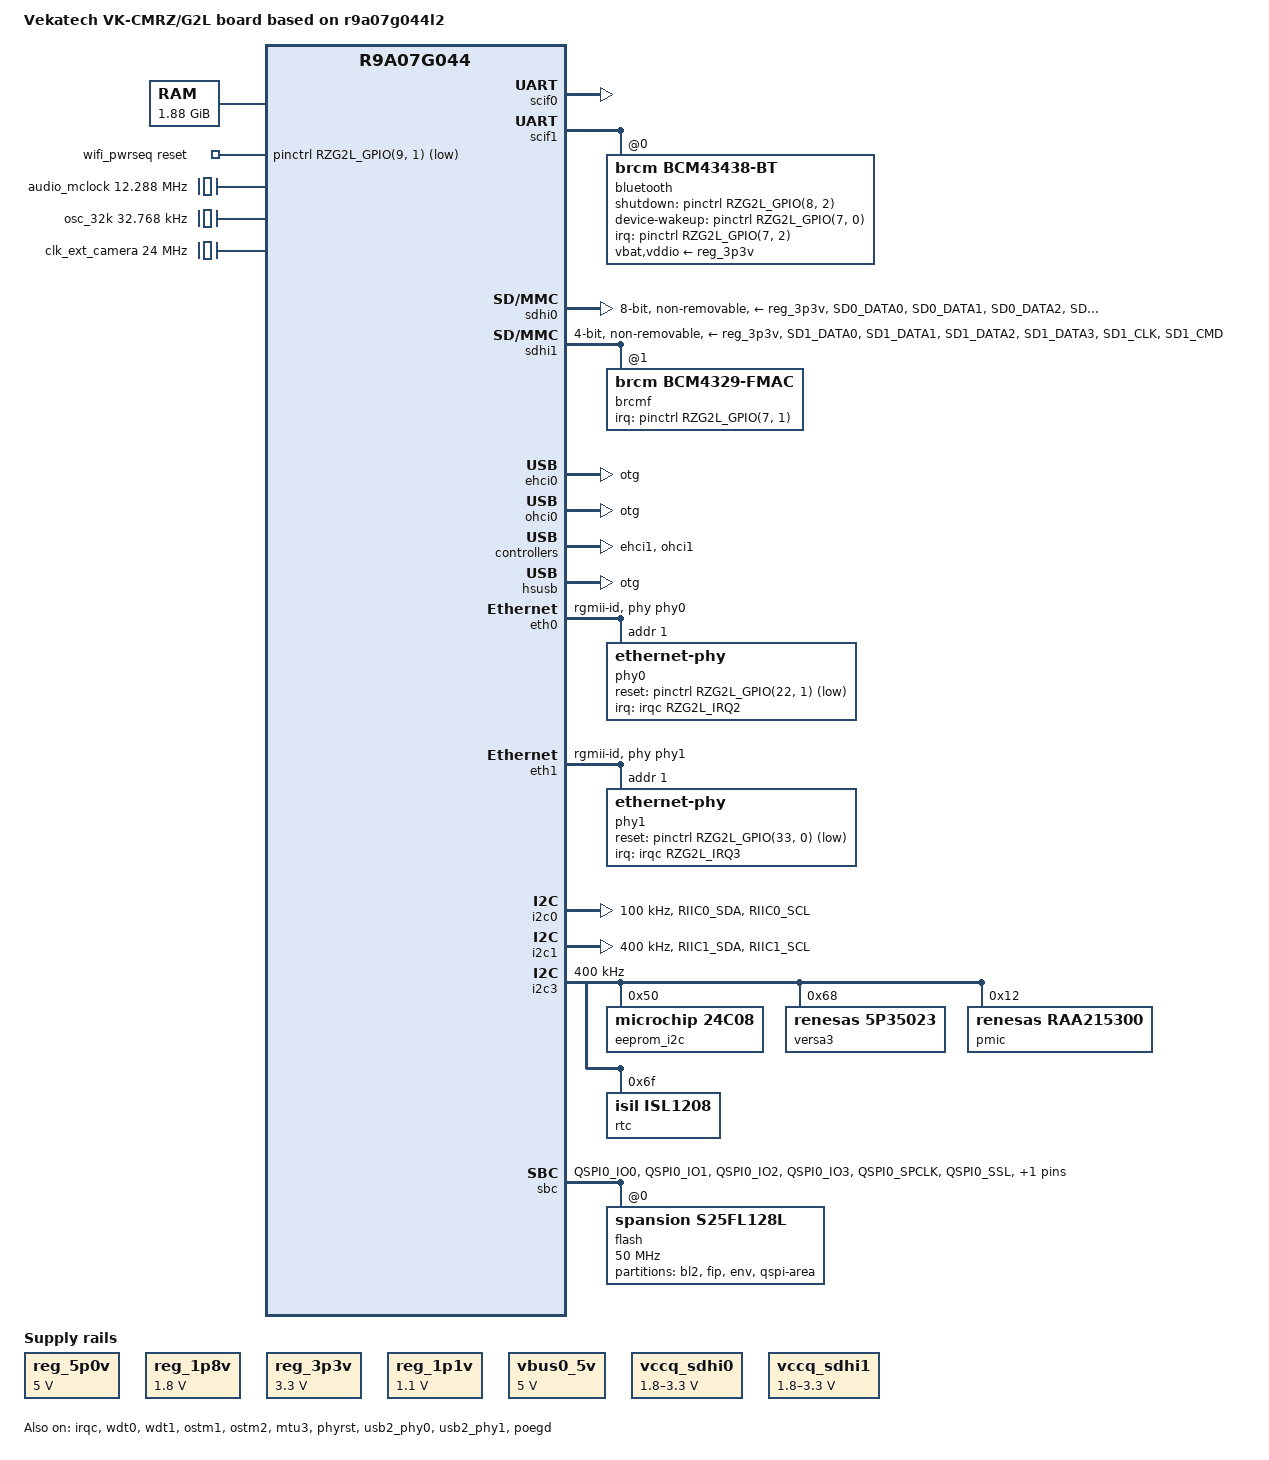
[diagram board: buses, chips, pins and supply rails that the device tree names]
// SPDX-License-Identifier: GPL-2.0
/*
 * Device Tree Source for the Vekatech (VK-CMRZ/G2L Dual Cortex-A55)
 *
 * Copyright (C) 2026 Vekatech.
 */

/dts-v1/;

#include "r9a07g044l2.dtsi"
#include <dt-bindings/gpio/gpio.h>
#include <dt-bindings/interrupt-controller/irqc-rzg2l.h>
#include <dt-bindings/pinctrl/rzg2l-pinctrl.h>
#include <dt-bindings/input/input.h>

#define WIFI_MODULE_1YN 1


/ {
	model = "Vekatech VK-CMRZ/G2L board based on r9a07g044l2";
	compatible = "vekatech,vkcmg2l", "renesas,r9a07g044l2", "renesas,r9a07g044";

	aliases {
		ethernet0 = &eth0;
		ethernet1 = &eth1;
		serial0 = &scif0;
		serial1 = &scif1;
		serial2 = &scif2;
		serial3 = &scif3;
		i2c0 = &i2c0;
		i2c1 = &i2c1;
		i2c3 = &i2c3;
		mmc0 = &sdhi0;
		mmc1 = &sdhi1;
	};

	chosen {
		bootargs = "ignore_loglevel";
		stdout-path = "serial0:115200n8";
	};

	memory@48000000 {
		device_type = "memory";
		/* first 128MB is reserved for secure area. */
		reg = <0x0 0x48000000 0x0 0x78000000>;
	};

	reserved-memory {
		#address-cells = <2>;
		#size-cells = <2>;
		ranges;

		global_cma: linux,cma@58000000 {
			compatible = "shared-dma-pool";
			linux,cma-default;
			reusable;
			reg = <0x0 0x58000000 0x0 0x10000000>;
		};

		mmp_reserved: linux,multimedia@68000000 {
			compatible = "shared-dma-pool";
			reusable;
			reg = <0x00000000 0x68000000 0x0 0x8000000>;
		};
	};

	mmngr {
		compatible = "renesas,mmngr";
		memory-region = <&mmp_reserved>;
	};

	mmngrbuf {
		compatible = "renesas,mmngrbuf";
	};

	vspm_if {
		compatible = "renesas,vspm_if";
	};

	reg_5p0v: regulator0 {
		compatible = "regulator-fixed";
		regulator-name = "MAIN-5.0V";
		regulator-min-microvolt = <5000000>;
		regulator-max-microvolt = <5000000>;
		regulator-boot-on;
		regulator-always-on;
	};

	reg_1p8v: regulator1 {
		compatible = "regulator-fixed";
		regulator-name = "fixed-1.8V";
		regulator-min-microvolt = <1800000>;
		regulator-max-microvolt = <1800000>;
		regulator-boot-on;
		regulator-always-on;
	};

	reg_3p3v: regulator2 {
		compatible = "regulator-fixed";
		regulator-name = "fixed-3.3V";
		regulator-min-microvolt = <3300000>;
		regulator-max-microvolt = <3300000>;
		regulator-boot-on;
		regulator-always-on;
	};

	reg_1p1v: regulator-vdd-core {
		compatible = "regulator-fixed";
		regulator-name = "fixed-1.1V";
		regulator-min-microvolt = <1100000>;
		regulator-max-microvolt = <1100000>;
		regulator-boot-on;
		regulator-always-on;
	};

	vbus0_5v: regulator-vbus0-usb {
		compatible = "regulator-fixed";
		regulator-name = "USB2_VBUS0";
		regulator-min-microvolt = <5000000>;
		regulator-max-microvolt = <5000000>;
		regulator-always-on;
	};

	vccq_sdhi0: regulator-vccq-sdhi0 {
		compatible = "regulator-gpio";
		regulator-name = "SDHI0 VccQ";
		regulator-min-microvolt = <1800000>;
		regulator-max-microvolt = <3300000>;
		gpios-states = <1>;
		states = <3300000 1>, <1800000 0>;
	};

	vccq_sdhi1: regulator-vccq-sdhi1 {
		compatible = "regulator-gpio";
		regulator-name = "SDHI1 VccQ";
		regulator-min-microvolt = <1800000>;
		regulator-max-microvolt = <3300000>;
		gpios-states = <1>;
		states = <3300000 1>, <1800000 0>;
	};
#if WIFI_MODULE_1YN
	wifi_pwrseq: wifi_pwrseq {
		compatible = "mmc-pwrseq-simple";
		reset-gpios = <&pinctrl RZG2L_GPIO(9, 1) GPIO_ACTIVE_LOW>;
	};
#endif
	backlight: backlight {
		compatible = "pwm-backlight";
		brightness-levels = <0 8 32 64 96 128 160 192 224 255>;
		default-brightness-level = <8>;
		power-supply = <&reg_5p0v>;
		status = "disabled";
	};

	audio_mclock: audio-mclock {
		compatible = "fixed-clock";
		#clock-cells = <0>;
		clock-frequency = <12288000>;
	};

	osc_32k: osc-32k {
		compatible = "fixed-clock";
		#clock-cells = <0>;
		clock-frequency = <32768>;
	};

	clk_ext_camera: clk-ext-camera {
		compatible = "fixed-clock";
		#clock-cells = <0>;
		clock-frequency = <24000000>;
	};

	x1_clk: x1-clock {
		compatible = "fixed-clock";
		#clock-cells = <0>;
		clock-frequency = <24000000>;
	};
};

&extal_clk {
	clock-frequency = <24000000>;
};

&audio_clk1{
	clock-frequency = <11289600>;
};

&audio_clk2{
	clock-frequency = <12288000>;
};

&irqc {
	status = "okay";
};

&gpu {
	mali-supply = <&reg_1p1v>;
};

&wdt0 {
	status = "okay";
	timeout-sec = <60>;
};

&wdt1 {
	status = "okay";
	timeout-sec = <60>;
};

&ostm1 {
	status = "okay";
};

&ostm2 {
	status = "okay";
};

&mtu3 {
	status = "okay";
};

&scif0 {
	pinctrl-0 = <&scif0_pins>;
	pinctrl-names = "default";
	status = "okay";
};

#if WIFI_MODULE_1YN
&scif1 {
	pinctrl-0 = <&scif1_pins>;
	pinctrl-names = "default";
	uart-has-rtscts;
	status = "okay";

	bluetooth: bluetooth@0 {
		status = "okay";

		compatible = "brcm,bcm43438-bt";
		vbat-supply = <&reg_3p3v>;
		vddio-supply = <&reg_3p3v>;
		shutdown-gpios = <&pinctrl RZG2L_GPIO(8, 2) GPIO_ACTIVE_HIGH>;
		device-wakeup-gpios = <&pinctrl RZG2L_GPIO(7, 0) GPIO_ACTIVE_HIGH>;
		interrupt-parent = <&pinctrl>;
		interrupts = <RZG2L_GPIO(7, 2) IRQ_TYPE_LEVEL_LOW>;
		interrupt-names = "host-wakeup";
		clocks = <&osc_32k>;
		clock-names = "lpo";
		max-speed = <4000000>;

		// #sound-dai-cells = <0>;
		// brcm,bt-pcm-int-params	= [01 02 00 01 01];
	};

};
#endif

/* for eMMC */
&sdhi0 {
	pinctrl-0 = <&sdhi0_emmc_pins>;
	pinctrl-1 = <&sdhi0_emmc_pins>;
	pinctrl-names = "default", "state_uhs";

	vmmc-supply = <&reg_3p3v>;
	vqmmc-supply = <&reg_1p8v>;
	bus-width = <8>;
	mmc-hs200-1_8v;
	non-removable;
	fixed-emmc-driver-type = <1>;
	status = "okay";
};

#if WIFI_MODULE_1YN
/* Wifi */
&sdhi1 {
	status = "okay";

	#address-cells = <1>;
	#size-cells = <0>;

	pinctrl-names = "default";
	pinctrl-0 = <&wifi_pins>;
	vmmc-supply = <&reg_3p3v>;
	vqmmc-supply = <&vccq_sdhi1>;
	bus-width = <4>;
	non-removable;
	mmc-pwrseq = <&wifi_pwrseq>;
	cap-sd-highspeed;
	cap-power-off-card;
	keep-power-in-suspend;

	brcmf: bcrmf@1 {
		reg = <1>;
		compatible = "brcm,bcm4329-fmac";
		status = "okay";
		interrupt-parent = <&pinctrl>;
		interrupts = <RZG2L_GPIO(7, 1) IRQ_TYPE_LEVEL_HIGH>;
		interrupt-names = "host-wake";
	};
};
#endif

&ehci0 {
	memory-region = <&global_cma>;
	dr_mode = "otg";
	status = "okay";
};

&ohci0 {
	memory-region = <&global_cma>;
	dr_mode = "otg";
	status = "okay";
};

&ehci1 {
	memory-region = <&global_cma>;
	status = "okay";
};

&ohci1 {
	memory-region = <&global_cma>;
	status = "okay";
};

&hsusb {
	dr_mode = "otg";
	status = "okay";
};

&phyrst {
	status = "okay";
};

&usb2_phy0 {
	pinctrl-0 = <&usb0_pins>;
	pinctrl-names = "default";

	vbus-supply = <&vbus0_5v>;
	status = "okay";
};

&usb2_phy1 {
	pinctrl-0 = <&usb1_pins>;
	pinctrl-names = "default";

	vbus-supply = <&vbus0_5v>;
	status = "okay";
};

&eth0 {
	#address-cells = <1>;
	#size-cells = <0>;
	pinctrl-names = "default";
	pinctrl-0 = <&eth0_pins>;
	phy-handle = <&phy0>;
	phy-mode = "rgmii-id";
	status = "okay";

	/* Realtek RTL8211F (0x001cc916) */
	phy0: ethernet-phy@1 {
		reg = <1>;
		reset-assert-us = <15000>;
		reset-deassert-us = <100000>;
		reset-gpios = <&pinctrl RZG2L_GPIO(22, 1) (GPIO_ACTIVE_LOW|GPIO_OPEN_DRAIN)>;
		interrupt-parent = <&irqc>;
		interrupts = <RZG2L_IRQ2 IRQ_TYPE_LEVEL_LOW>;
		eee-broken-100tx;
		eee-broken-1000t;
	};
};

&eth1 {
	#address-cells = <1>;
	#size-cells = <0>;
	pinctrl-names = "default";
	pinctrl-0 = <&eth1_pins>;
	phy-handle = <&phy1>;
	phy-mode = "rgmii-id";
	status = "okay";

	/* Realtek RTL8211F (0x001cc916) */
	phy1: ethernet-phy@1 {
		reg = <1>;
		reset-assert-us = <15000>;
		reset-deassert-us = <100000>;
		reset-gpios = <&pinctrl RZG2L_GPIO(33, 0) (GPIO_ACTIVE_LOW|GPIO_OPEN_DRAIN)>;
		interrupt-parent = <&irqc>;
		interrupts = <RZG2L_IRQ3 IRQ_TYPE_LEVEL_LOW>;
		eee-broken-100tx;
		eee-broken-1000t;
	};
};

&csi2 {
	status = "disabled";
};

&i2c0 {
	pinctrl-0 = <&i2c0_pins>;
	pinctrl-names = "default";

	clock-frequency = <100000>;
	status = "okay";
};

&i2c1 {
	pinctrl-0 = <&i2c1_pins>;
	pinctrl-names = "default";
	clock-frequency = <400000>;
	
	status = "okay";

	gt9271: gt9271_ts@5d {
		compatible = "goodix,gt911";
		reg = <0x5d>;

		status = "disabled";
	};

	ft5626: ft5626_ts@38 {
		compatible = "edt,edt-ft5506";
		reg = <0x38>;

		status = "disabled";
		vcc-supply = <&reg_3p3v>;
	};
};

&i2c3 {
	pinctrl-0 = <&i2c3_pins>;
	pinctrl-names = "default";
	clock-frequency = <400000>;
	status = "okay";

	eeprom_i2c: eeprom-i2c@50 {
		status = "okay";
		compatible = "microchip,24c08", "atmel,24c08";
		reg = <0x50>;
		pagesize = <8>;
	};

	versa3: versa3@68 {
		compatible = "renesas,5p35023";
		reg = <0x68>;
		#clock-cells = <1>;
		clocks = <&x1_clk>;
		clock-names = "x1";
		assigned-clocks = <&versa3 0>,	/* REF RZ EXT */
				  <&versa3 1>,	/* SE1 Audio CLK1 */
				  <&versa3 2>,	/* SE2 Audio Master CLK */
				  <&versa3 3>,	/* SE3 32k CLK */
				  <&versa3 4>,	/* DIFF1 ETH1/2 CLK */
				  <&versa3 5>;	/* DIFF2 Audio CLK2 */
		assigned-clock-rates =	<24000000>,
					<11289600>,
					<12288000>,
					<32768>, 
					<25000000>,
					<12288000>;
	};

	pmic: raa215300@12 {
		compatible = "renesas,raa215300";
		reg = <0x12>;

		rtc-enable;
	};

	rtc: isl1208@6f {
		compatible = "isil,isl1208";
		reg = <0x6f>;

		external-oscillator;
	};
};

&poegd {
	status = "okay";
};

&dsi {
	status = "disabled";
	#address-cells = <1>;
	#size-cells = <0>;

	mipi_panel: panel@0 {
		power-supply = <&reg_5p0v>;
		reg = <0>;
		backlight = <&backlight>;
		status = "disabled";
	};
};

&sbc {
	status = "okay";

	pinctrl-0 = <&qspi0_pins>;
	pinctrl-names = "default";

	flash@0 {
		status = "okay";

		compatible = "spansion,s25fl128l", "jedec,spi-nor";
		spi-max-frequency = <50000000>;
		reg = <0>;
		spi-rx-bus-width = <4>;
		spi-tx-bus-width = <4>;
		m25p,fast-read;

		partitions {
			compatible = "fixed-partitions";
			#address-cells = <1>;
			#size-cells = <1>;

			partition@000000 {
				label = "bl2";
				reg = <0x00000000 0x0001D200>;
				read-only;
			};
			partition@01D200 {
				label = "fip";
				reg = <0x0001D200 0x001C2E00>;
				read-only;
			};
			partition@1E0000 {
				label = "env";
				reg = <0x001E0000 0x00020000>;
				read-only;
			};
			partition@200000 {
				label = "qspi-area";
				reg = <0x00200000 0x00E00000>;
			};
		};
	};
};

&pinctrl {
	pinctrl-0 = <&sound_clk_pins>;
	pinctrl-names = "default";

	sound_clk_pins: sound_clk {
		pins = "AUDIO_CLK1", "AUDIO_CLK2";
		input-enable;
	};

	scif0_pins: scif0 {
		pinmux = <RZG2L_PORT_PINMUX(38, 0, 1)>,	/* TxD */
			 <RZG2L_PORT_PINMUX(38, 1, 1)>;	/* RxD */
	};
#if WIFI_MODULE_1YN
	scif1_pins: scif1 {
		pinmux = <RZG2L_PORT_PINMUX(40, 0, 1)>, /* TxD */
			 <RZG2L_PORT_PINMUX(40, 1, 1)>, /* RxD */
			 <RZG2L_PORT_PINMUX(41, 1, 1)>, /* CTS# */
			 <RZG2L_PORT_PINMUX(41, 0, 1)>; /* RTS# */
	};
#endif
	i2c0_pins: i2c0 {
		pins = "RIIC0_SDA", "RIIC0_SCL";
		input-enable;
	};

	i2c1_pins: i2c1 {
		pins = "RIIC1_SDA", "RIIC1_SCL";
		input-enable;
	};

	i2c3_pins: i2c3 {
		pinmux = <RZG2L_PORT_PINMUX(18, 0, 3)>, /* SDA */
			 <RZG2L_PORT_PINMUX(18, 1, 3)>; /* SCL */
	};

	eth0_pins: eth0 {
		pinmux = <RZG2L_PORT_PINMUX(28, 1, 1)>, /* ET0_LINKSTA */
			 <RZG2L_PORT_PINMUX(27, 1, 1)>, /* ET0_MDC */
			 <RZG2L_PORT_PINMUX(28, 0, 1)>, /* ET0_MDIO */
			 <RZG2L_PORT_PINMUX(20, 0, 1)>, /* ET0_TXC */
			 <RZG2L_PORT_PINMUX(20, 1, 1)>, /* ET0_TX_CTL */
			 <RZG2L_PORT_PINMUX(20, 2, 1)>, /* ET0_TXD0 */
			 <RZG2L_PORT_PINMUX(21, 0, 1)>, /* ET0_TXD1 */
			 <RZG2L_PORT_PINMUX(21, 1, 1)>, /* ET0_TXD2 */
			 <RZG2L_PORT_PINMUX(22, 0, 1)>, /* ET0_TXD3 */
			 <RZG2L_PORT_PINMUX(24, 0, 1)>, /* ET0_RXC */
			 <RZG2L_PORT_PINMUX(24, 1, 1)>, /* ET0_RX_CTL */
			 <RZG2L_PORT_PINMUX(25, 0, 1)>, /* ET0_RXD0 */
			 <RZG2L_PORT_PINMUX(25, 1, 1)>, /* ET0_RXD1 */
			 <RZG2L_PORT_PINMUX(26, 0, 1)>, /* ET0_RXD2 */
			 <RZG2L_PORT_PINMUX(26, 1, 1)>, /* ET0_RXD3 */
			 <RZG2L_PORT_PINMUX( 1, 0, 1)>; /* IRQ2     */

	};

	eth1_pins: eth1 {
		pinmux = <RZG2L_PORT_PINMUX(37, 2, 1)>, /* ET1_LINKSTA */
			 <RZG2L_PORT_PINMUX(37, 0, 1)>, /* ET1_MDC */
			 <RZG2L_PORT_PINMUX(37, 1, 1)>, /* ET1_MDIO */
			 <RZG2L_PORT_PINMUX(29, 0, 1)>, /* ET1_TXC */
			 <RZG2L_PORT_PINMUX(29, 1, 1)>, /* ET1_TX_CTL */
			 <RZG2L_PORT_PINMUX(30, 0, 1)>, /* ET1_TXD0 */
			 <RZG2L_PORT_PINMUX(30, 1, 1)>, /* ET1_TXD1 */
			 <RZG2L_PORT_PINMUX(31, 0, 1)>, /* ET1_TXD2 */
			 <RZG2L_PORT_PINMUX(31, 1, 1)>, /* ET1_TXD3 */
			 <RZG2L_PORT_PINMUX(33, 1, 1)>, /* ET1_RXC */
			 <RZG2L_PORT_PINMUX(34, 0, 1)>, /* ET1_RX_CTL */
			 <RZG2L_PORT_PINMUX(34, 1, 1)>, /* ET1_RXD0 */
			 <RZG2L_PORT_PINMUX(35, 0, 1)>, /* ET1_RXD1 */
			 <RZG2L_PORT_PINMUX(35, 1, 1)>, /* ET1_RXD2 */
			 <RZG2L_PORT_PINMUX(36, 0, 1)>, /* ET1_RXD3 */
			 <RZG2L_PORT_PINMUX( 1, 1, 1)>; /* IRQ3     */

	};

	usb0_pins: usb0 {
		pinmux = <RZG2L_PORT_PINMUX(4, 0, 1)>, /* VBUS */
			 <RZG2L_PORT_PINMUX(5, 0, 1)>; /* OVC */
	};

	usb1_pins: usb1 {
		pinmux = <RZG2L_PORT_PINMUX(8, 0, 2)>, /* VBUS */
			 <RZG2L_PORT_PINMUX(8, 1, 2)>; /* OVC */
	};

	sdhi0_emmc_pins: sd0emmc {
		sd0_emmc_data {
			pins = "SD0_DATA0", "SD0_DATA1", "SD0_DATA2", "SD0_DATA3",
			       "SD0_DATA4", "SD0_DATA5", "SD0_DATA6", "SD0_DATA7";
			power-source = <1800>;
		};

		sd0_emmc_ctrl {
			pins = "SD0_CLK", "SD0_CMD";
			power-source = <1800>;
		};

		sd0_emmc_rst {
			pins = "SD0_RST#";
			power-source = <1800>;
		};
	};
#if WIFI_MODULE_1YN
	wifi_pins: wifi {
		wifi_data {
			pins = "SD1_DATA0", "SD1_DATA1", "SD1_DATA2", "SD1_DATA3";
			power-source  = <3300>;
		};

		wifi_ctrl {
			pins = "SD1_CLK", "SD1_CMD";
			power-source  = <3300>;
		};
	};
#endif
	qspi0_pins: qspi0 {
		qspi0-data {
			pins = "QSPI0_IO0", "QSPI0_IO1", "QSPI0_IO2", "QSPI0_IO3";
			power-source = <3300>;
		};

		qspi0-ctrl {
			pins = "QSPI0_SPCLK", "QSPI0_SSL", "QSPI_RESET#";
			power-source = <3300>;
		};
	};
};
